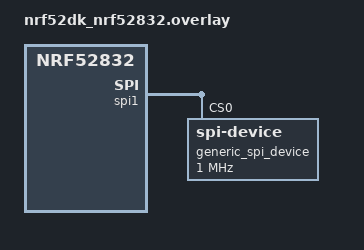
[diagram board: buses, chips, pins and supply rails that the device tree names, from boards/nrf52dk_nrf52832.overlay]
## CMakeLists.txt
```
cmake_minimum_required(VERSION 3.20.0)
find_package(Zephyr REQUIRED HINTS $ENV{ZEPHYR_BASE})

project(spiTest)

target_sources(app PRIVATE src/main.c)
```

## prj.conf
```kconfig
CONFIG_SPI=y
CONFIG_LOG=y
CONFIG_LOG_DEFAULT_LEVEL=3
CONFIG_LOG_MODE_IMMEDIATE=y
```

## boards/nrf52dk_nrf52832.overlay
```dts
&spi1 {
    status = "okay";

    generic_spi_device: generic_spi_device@0 {
        compatible = "spi-device";
        reg = <0>;
        spi-max-frequency = <1000000>;
    };
};
```

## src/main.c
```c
#include <zephyr/kernel.h>
#include <zephyr/device.h>
#include <zephyr/drivers/gpio.h>
#include <zephyr/drivers/spi.h>
#include <zephyr/logging/log.h>
#include <zephyr/devicetree.h>

LOG_MODULE_REGISTER(main);

#define MAX30009_REG_PARTID  0xFF
#define CSB_NODE DT_NODELABEL(gpio0)
#define CSB_PIN 15

void main(void)
{
    const struct device *spi_dev = DEVICE_DT_GET(DT_NODELABEL(spi1));
    const struct device *gpio_dev = DEVICE_DT_GET(CSB_NODE);

    if (!device_is_ready(spi_dev) || !device_is_ready(gpio_dev)) {
        LOG_ERR("SPI or GPIO device not ready!");
        return;
    }

    gpio_pin_configure(gpio_dev, CSB_PIN, GPIO_OUTPUT_ACTIVE); // CS high
    gpio_pin_set(gpio_dev, CSB_PIN, 1);

    struct spi_config spi_cfg = {
        .frequency = 125000U,
        .operation = SPI_OP_MODE_MASTER | SPI_TRANSFER_MSB |
                     SPI_WORD_SET(8) | SPI_MODE_CPOL | SPI_MODE_CPHA,
        .slave = 0,
        .cs = NULL,
    };

    uint8_t tx_buf_data[] = { 0xFF, 0x80, 0x00 };
    uint8_t rx_buf_data[] = { 0x00, 0x00 , 0x00};

    struct spi_buf tx_buf = {
        .buf = tx_buf_data,
        .len = sizeof(tx_buf_data),
    };
    struct spi_buf rx_buf = {
        .buf = rx_buf_data,
        .len = sizeof(rx_buf_data),
    };

    struct spi_buf_set tx_set = { .buffers = &tx_buf, .count = 1 };
    struct spi_buf_set rx_set = { .buffers = &rx_buf, .count = 1 };

    gpio_pin_set(gpio_dev, CSB_PIN, 0);
    k_busy_wait(100); // short delay to ensure CSB settled

    int err = spi_transceive(spi_dev, &spi_cfg, &tx_set, &rx_set);

    gpio_pin_set(gpio_dev, CSB_PIN, 1);

    if (err) {
        LOG_ERR("SPI transceive failed: %d", err);
    } else {
        LOG_INF("WHO_AM_I = 0x%02X", rx_buf_data[1]);
    }
}
```
